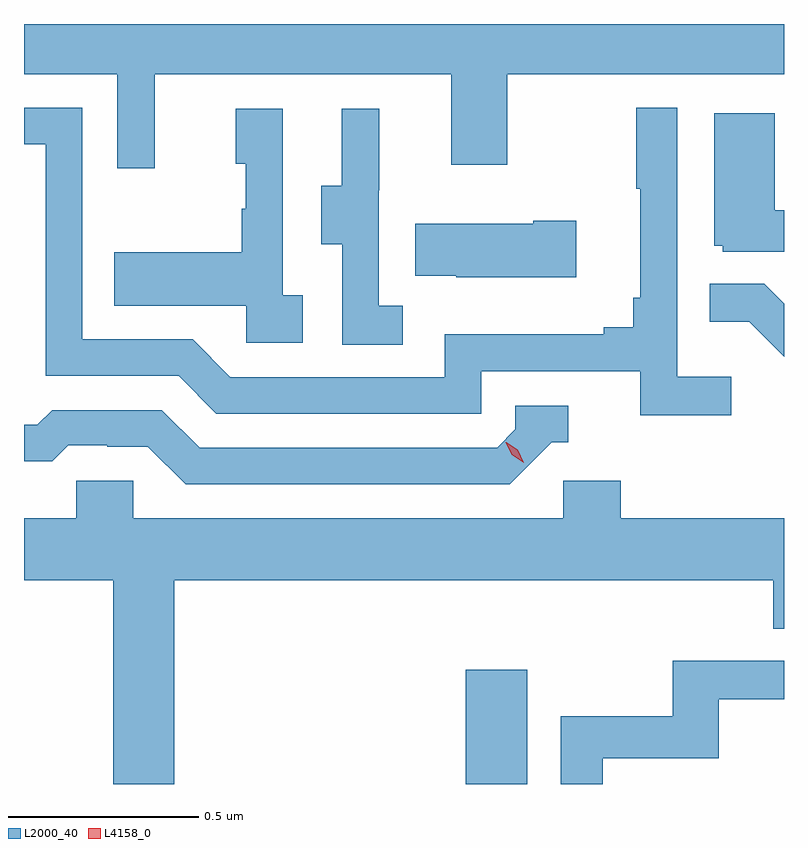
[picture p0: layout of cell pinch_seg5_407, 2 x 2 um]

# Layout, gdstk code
import gdstk
lib = gdstk.Library(unit=1e-6, precision=1e-09)
def R(c, l, rs):  # rectangles x0, y0, x1, y1
    for r in rs: c.add(gdstk.rectangle(r[:2], r[2:], *l))
def P(c, l, *ps):  # polygons
    for p in ps: c.add(gdstk.Polygon(p, *l))
L2000_40 = (2000, 40)
L4158_0 = (4158, 0)

pinch_seg5_407 = lib.new_cell('pinch_seg5_407')
R(pinch_seg5_407, L2000_40, [(1001.408,870.876,1001.569,871.177)])
P(pinch_seg5_407, L2000_40, [(1000.589,872.744),(1001.369,872.744),(1001.369,872.505),(1001.517,872.505),(1001.517,872.744),(1002.245,872.744),(1002.245,872.876),(1000.245,872.876),(1000.245,872.744),(1000.491,872.744),(1000.491,872.496),(1000.589,872.496)],
  [(1002.106,871.948),(1001.964,871.948),(1001.964,872.656),(1001.856,872.656),(1001.856,872.443),(1001.867,872.443),(1001.867,872.155),(1001.848,872.155),(1001.848,872.078),(1001.771,872.078),(1001.771,872.059),(1001.352,872.059),(1001.352,871.947),(1000.788,871.947),(1000.689,872.046),(1000.398,872.046),(1000.398,872.655),(1000.245,872.655),(1000.245,872.559),(1000.302,872.559),(1000.302,871.95),(1000.652,871.95),(1000.751,871.851),(1001.448,871.851),(1001.448,871.962),(1001.867,871.962),(1001.867,871.846),(1002.106,871.846)],
  [(1000.978,872.162),(1000.926,872.162),(1000.926,872.653),(1000.802,872.653),(1000.802,872.508),(1000.828,872.508),(1000.828,872.39),(1000.818,872.39),(1000.818,872.275),(1000.483,872.275),(1000.483,872.135),(1000.83,872.135),(1000.83,872.037),(1000.978,872.037)],
  [(1001.242,872.135),(1001.178,872.135),(1001.178,872.439),(1001.18,872.439),(1001.18,872.653),(1001.081,872.653),(1001.081,872.451),(1001.027,872.451),(1001.027,872.296),(1001.082,872.296),(1001.082,872.032),(1001.242,872.032)],
  [(1002.245,872.386),(1002.22,872.386),(1002.22,872.641),(1002.062,872.641),(1002.062,872.292),(1002.084,872.292),(1002.084,872.277),(1002.245,872.277)],
  [(1001.698,872.358),(1001.585,872.358),(1001.585,872.35),(1001.275,872.35),(1001.275,872.213),(1001.383,872.213),(1001.383,872.21),(1001.698,872.21)],
  [(1002.245,872.14),(1002.193,872.192),(1002.049,872.192),(1002.049,872.093),(1002.153,872.093),(1002.245,872.001)],
  [(1001.634,871.776),(1001.677,871.776),(1001.677,871.872),(1001.538,871.872),(1001.538,871.809),(1001.49,871.761),(1000.707,871.761),(1000.608,871.86),(1000.319,871.86),(1000.28,871.821),(1000.245,871.821),(1000.245,871.725),(1000.319,871.725),(1000.361,871.767),(1000.464,871.767),(1000.464,871.764),(1000.571,871.764),(1000.67,871.665),(1001.523,871.665)],
  [(1000.64,871.412),(1002.217,871.412),(1002.217,871.285),(1002.245,871.285),(1002.245,871.576),(1001.816,871.576),(1001.816,871.674),(1001.664,871.674),(1001.664,871.576),(1000.533,871.576),(1000.533,871.674),(1000.383,871.674),(1000.383,871.576),(1000.245,871.576),(1000.245,871.412),(1000.48,871.412),(1000.48,870.876),(1000.64,870.876)],
  [(1001.768,870.944),(1002.073,870.944),(1002.073,871.099),(1002.245,871.099),(1002.245,871.2),(1001.952,871.2),(1001.952,871.054),(1001.658,871.054),(1001.658,870.876),(1001.768,870.876)])
P(pinch_seg5_407, L4158_0, [(1001.56,871.722),(1001.529,871.742),(1001.513,871.775),(1001.513,871.775),(1001.514,871.775),(1001.544,871.755),(1001.56,871.722),(1001.56,871.722)])

lib.write_gds('pinch_seg5_407.gds')
